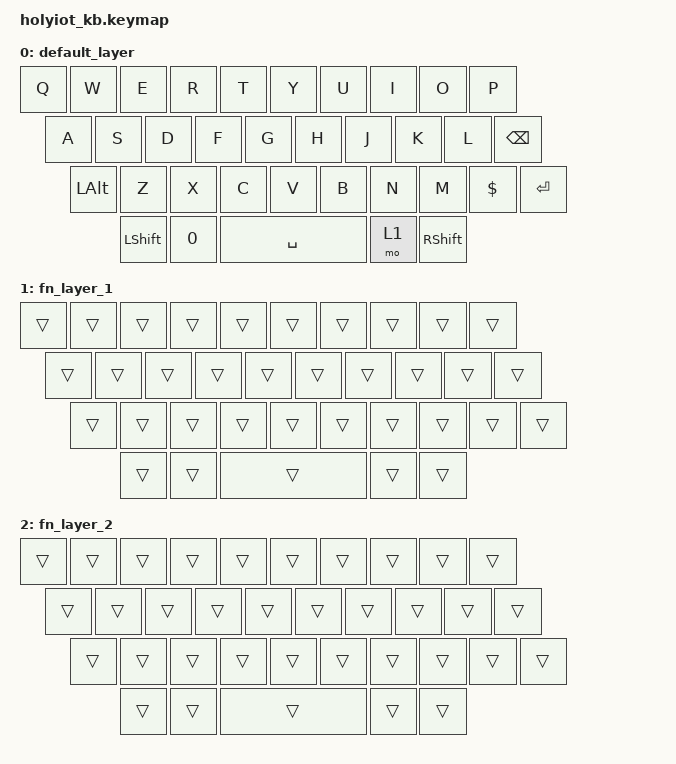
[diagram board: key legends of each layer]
#include <behaviors.dtsi>
#include <dt-bindings/zmk/keys.h>
#include <dt-bindings/zmk/bt.h>

/ {
    keymap {
        compatible = "zmk,keymap";

        default_layer {
            bindings = <
                &kp Q    &kp W    &kp E    &kp R    &kp T    &kp Y    &kp U    &kp I    &kp O    &kp P
                &kp A    &kp S    &kp D    &kp F    &kp G    &kp H    &kp J    &kp K    &kp L    &kp BSPC
                &kp LALT &kp Z    &kp X    &kp C    &kp V    &kp B    &kp N    &kp M    &kp DLLR &kp RET
                &kp LSHFT &kp N0   &kp SPACE &mo 1   &kp RSHFT
            >;
        };

        fn_layer_1 {
            bindings = <
                &trans &trans &trans &trans &trans &trans &trans &trans &trans &trans
                &trans &trans &trans &trans &trans &trans &trans &trans &trans &trans
                &trans &trans &trans &trans &trans &trans &trans &trans &trans &trans
                &trans &trans &trans &trans &trans
            >;
        };

        fn_layer_2 {
            bindings = <
                &trans &trans &trans &trans &trans &trans &trans &trans &trans &trans
                &trans &trans &trans &trans &trans &trans &trans &trans &trans &trans
                &trans &trans &trans &trans &trans &trans &trans &trans &trans &trans
                &trans &trans &trans &trans &trans
            >;
        };
    };
};
